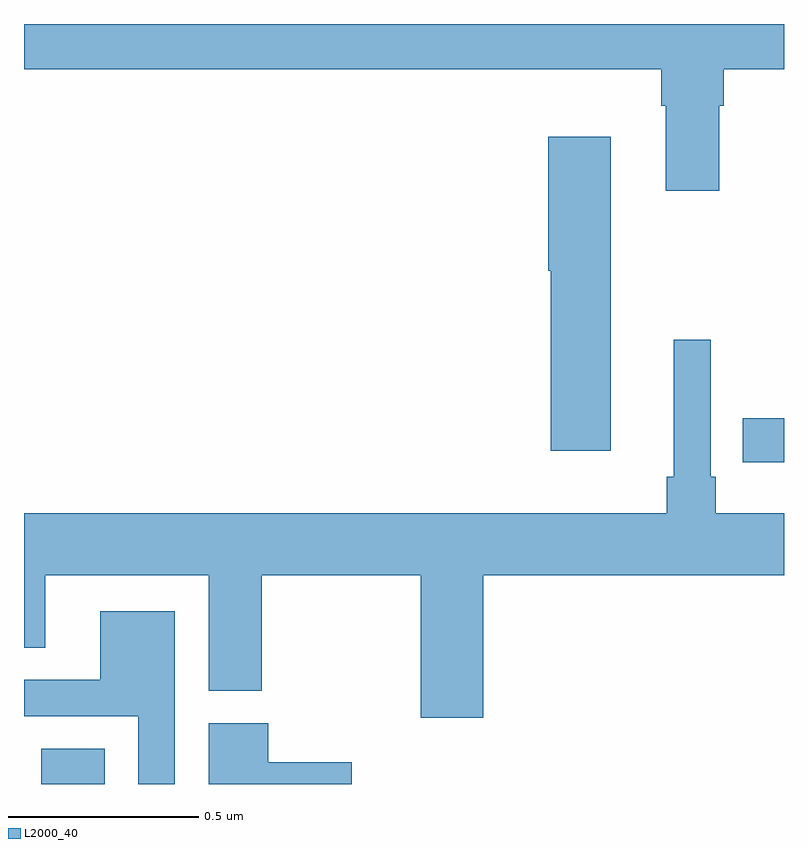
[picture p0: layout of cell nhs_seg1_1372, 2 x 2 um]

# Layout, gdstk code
import gdstk
lib = gdstk.Library(unit=1e-6, precision=1e-09)
def R(c, l, rs):  # rectangles x0, y0, x1, y1
    for r in rs: c.add(gdstk.rectangle(r[:2], r[2:], *l))
def P(c, l, *ps):  # polygons
    for p in ps: c.add(gdstk.Polygon(p, *l))
L2000_40 = (2000, 40)

nhs_seg1_1372 = lib.new_cell('nhs_seg1_1372')
R(nhs_seg1_1372, L2000_40, [(128.045,535.199,128.212,535.292), (129.892,536.046,130,536.162)])
P(nhs_seg1_1372, L2000_40, [(129.829,536.984),(129.842,536.984),(129.842,537.08),(130,537.08),(130,537.199),(128,537.199),(128,537.08),(129.677,537.08),(129.677,536.984),(129.689,536.984),(129.689,536.76),(129.829,536.76)],
  [(129.544,536.902),(129.38,536.902),(129.38,536.55),(129.386,536.55),(129.386,536.076),(129.544,536.076)],
  [(129.208,535.748),(130,535.748),(130,535.912),(129.821,535.912),(129.821,536.008),(129.807,536.008),(129.807,536.368),(129.71,536.368),(129.71,536.008),(129.691,536.008),(129.691,535.912),(128,535.912),(128,535.558),(128.056,535.558),(128.056,535.748),(128.486,535.748),(128.486,535.444),(128.625,535.444),(128.625,535.748),(129.044,535.748),(129.044,535.374),(129.208,535.374)],
  [(128.397,535.654),(128.201,535.654),(128.201,535.473),(128,535.473),(128,535.377),(128.301,535.377),(128.301,535.199),(128.397,535.199)],
  [(128.863,535.256),(128.643,535.256),(128.643,535.359),(128.486,535.359),(128.486,535.199),(128.863,535.199)])

lib.write_gds('nhs_seg1_1372.gds')
